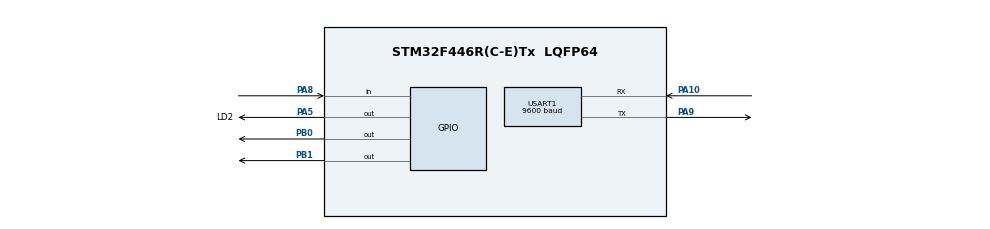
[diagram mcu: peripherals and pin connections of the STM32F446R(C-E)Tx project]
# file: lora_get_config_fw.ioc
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Mcu.Family=STM32F4
Mcu.Name=STM32F446R(C-E)Tx
Mcu.Package=LQFP64
NVIC.PriorityGroup=NVIC_PRIORITYGROUP_4
PA10.Mode=Asynchronous
PA10.Signal=USART1_RX
PA5.GPIO_Label=LD2
PA5.Signal=GPIO_Output
PA8.Signal=GPIO_Input
PA9.Mode=Asynchronous
PA9.Signal=USART1_TX
PB0.Signal=GPIO_Output
PB1.Signal=GPIO_Output
ProjectManager.HeapSize=0x200
ProjectManager.StackSize=0x400
ProjectManager.TargetToolchain=STM32CubeIDE
RCC.CortexFreq_Value=16000000
RCC.USBFreq_Value=96000000
RCC.VCOOutputFreq_Value=192000000
USART1.BaudRate=9600
USART1.VirtualMode=VM_ASYNC
board=custom

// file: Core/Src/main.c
/* USER CODE BEGIN Header */
/**
  ******************************************************************************
  * @file           : main.c
  * @brief          : Main program body
  ******************************************************************************
  * @attention
  *
  * Copyright (c) 2026 STMicroelectronics.
  * All rights reserved.
  *
  * This software is licensed under terms that can be found in the LICENSE file
  * in the root directory of this software component.
  * If no LICENSE file comes with this software, it is provided AS-IS.
  *
  ******************************************************************************
  */
/* USER CODE END Header */
#include "main.h"

/* USER CODE BEGIN Includes */
#include "e220.h"
#include <stdio.h>
#include <string.h>
/* USER CODE END Includes */

/* USER CODE BEGIN PD */
/* ----------------------------------------------------------------------------
 *  E220 pin haritasi (NUCLEO-F446RE)
 *    M0  = PB0   (GPIO cikis)
 *    M1  = PB1   (GPIO cikis)
 *    AUX = PA8   (GPIO giris)
 *    LD2 = PA5   (durum LED'i - her gonderimde toggle)
 * -------------------------------------------------------------------------- */
#define E220_M0_PORT    GPIOB
#define E220_M0_PIN     GPIO_PIN_0
#define E220_M1_PORT    GPIOB
#define E220_M1_PIN     GPIO_PIN_1
#define E220_AUX_PORT   GPIOA
#define E220_AUX_PIN    GPIO_PIN_8

#define LD2_PORT        GPIOA
#define LD2_PIN         GPIO_PIN_5

/* ----------------------------------------------------------------------------
 *  Uygulama modu secimi (E220_APP_MODE):
 *    E220_APP_READ  = STM32 acilista modulu SADECE OKUR (g_e220_cfg'ye) ve
 *                     mevcut ayari korur. Hicbir sey yazmaz.
 *    E220_APP_WRITE = Asagida "WRITE modu" blogunda VERDIGIN degerleri mod_le
 *                     YAZAR. Geri okuma / dogrulama YAPMAZ.
 *
 *  Kullanim: modu degistirmek icin sadece E220_APP_MODE satirini duzenle.
 * -------------------------------------------------------------------------- */
#define E220_APP_READ    0
#define E220_APP_WRITE   1

#define E220_APP_MODE    E220_APP_READ
/* USER CODE END PD */

/* USER CODE BEGIN PM */
/* ============================================================================
 *  CubeMX (.ioc) AYAR OZETI  -  NUCLEO-F446RE / STM32F446RET6
 * ----------------------------------------------------------------------------
 *  RCC   : HSI (16 MHz), PLL yok. SYSCLK = HCLK = APB1 = APB2 = 16 MHz.
 *          (9600 ve 115200 baud icin yeterli hassasiyet saglar.)
 *
 *  SYS   : Debug -> Serial Wire (SWD), Timebase -> SysTick.
 *
 *  USART1 (Connectivity):
 *      Mode = Asynchronous, Baud = 9600, 8 bit, Parity None, 1 stop.
 *      Pinler: PA9 = USART1_TX, PA10 = USART1_RX (AF7).
 *      -> E220 modulu ile haberlesme (config + veri).
 *      NOT: Config modu daima 9600'dur. Veri modu baud'u konfigurasyona bagli
 *           degisir; surucu (e220.c) mod degisiminde huart1 baud'unu otomatik
 *           ayarlar.
 *
 *  (USART2/printf debug ciktisi kaldirildi - izleme Live Expressions ile.)
 *
 *  GPIO (System Core -> GPIO):
 *      PB0 = GPIO_Output (E220 M0)   -> Push-Pull, No pull, Low speed
 *      PB1 = GPIO_Output (E220 M1)   -> Push-Pull, No pull, Low speed
 *      PA8 = GPIO_Input  (E220 AUX)  -> No pull
 *      PA5 = GPIO_Output (LD2 LED)   -> Push-Pull, No pull, Low speed
 *
 *  Not: USART clock'lari ve GPIO clock'lari HAL MSP (stm32f4xx_hal_msp.c) ve
 *       MX_GPIO_Init() icinde otomatik etkinlestirilir.
 * ==========================================================================*/
/* USER CODE END PM */

UART_HandleTypeDef huart1;

/* USER CODE BEGIN PV */
/* E220 surucu tutamaci */
static E220_Handle e220;

/* Live Expressions'ta izlenebilmesi icin config yapisini dosya-seviyesi
   static yaptik. Boylece her zaman kapsam icindedir ve pencerede alanlari
   (channel, tx_power, air_rate ...) surekli gorunur.
     - READ  modunda : moduldan OKUNAN aktif konfigurasyon
     - WRITE modunda : mod_le YAZILAN konfigurasyon                        */
static E220_Config g_e220_cfg;

/* --- Live Expressions izleme degiskenleri (printf yerine) ---------------- *
 *  g_read_status / g_write_status : ilgili islemin dönüş kodu (0 = E220_OK)
 *  g_tx_count         : gönderilen paket sayacı (2 sn'de bir artar - heartbeat)
 *  g_last_send_status : son E220_SendData dönüş kodu
 *  g_last_rx_len      : son alınan paketin bayt sayısı
 *  g_rx_buf           : son alınan paketin içeriği (metin) */
#if (E220_APP_MODE == E220_APP_READ)
static volatile E220_Status g_read_status        = E220_ERR_TIMEOUT;
#else
static volatile E220_Status g_write_status        = E220_ERR_TIMEOUT;
#endif
static volatile uint32_t    g_tx_count           = 0;
static volatile E220_Status g_last_send_status    = E220_OK;
static volatile uint16_t    g_last_rx_len         = 0;
static uint8_t              g_rx_buf[64];
/* USER CODE END PV */

void SystemClock_Config(void);
static void MX_GPIO_Init(void);
static void MX_USART1_UART_Init(void);

/* USER CODE BEGIN 0 */

/* USART2/printf debug ciktisi kaldirildi; izleme yalnizca Live Expressions
   uzerinden yapiliyor (asagidaki g_* global degiskenleri). */

/* USER CODE END 0 */

int main(void)
{

  /* MCU Configuration--------------------------------------------------------*/

  /* Reset of all peripherals, Initializes the Flash interface and the Systick. */
  HAL_Init();

  /* Configure the system clock */
  SystemClock_Config();

  /* Initialize all configured peripherals */
  MX_GPIO_Init();
  MX_USART1_UART_Init();
  /* USER CODE BEGIN 2 */

  /* --- E220 surucusunu baslat (UART + M0/M1/AUX pinleri) --------------- */
  E220_Init(&e220, &huart1,
            E220_M0_PORT, E220_M0_PIN,
            E220_M1_PORT, E220_M1_PIN,
            E220_AUX_PORT, E220_AUX_PIN);

#if (E220_APP_MODE == E220_APP_READ)
  /* ====================== READ MODU ==================================== *
   *  Modulde HALIHAZIRDA ne varsa oku ve koru. Hicbir sey yazma.
   *  Live Expr: g_e220_cfg (okunan ayarlar), g_read_status (0 = OK).       */
  g_read_status = E220_ReadConfig(&e220, &g_e220_cfg);

#else /* E220_APP_MODE == E220_APP_WRITE */
  /* ====================== WRITE MODU =================================== *
   *  Asagidaki degerleri mod_le YAZAR. Geri okuma / dogrulama YOK.
   *  >>> KENDI DEGERLERINI BURADA DUZENLE <<<
   *  Not: WriteConfig 8 register'in tamamini yazar; bu yuzden tum alanlar
   *       set edilmelidir. permanent=true => kalici (flash), false => gecici.
   *  Not: uart_baud, modul<->STM32 VERI modu hizi; 9600 disi secersen surucu
   *       Normal moda gecerken huart1'i otomatik ayarlar (config yine 9600). */
  g_e220_cfg.addh              = 0x00;
  g_e220_cfg.addl              = 49;                 /* adres dusuk bayt     */
  g_e220_cfg.uart_baud         = E220_UART_115200;     /* veri modu UART hizi  */
  g_e220_cfg.parity            = E220_PARITY_8N1;
  g_e220_cfg.air_rate          = E220_AIR_2K4;      /* havadaki hiz         */
  g_e220_cfg.sub_packet        = E220_SUBPKT_200;
  g_e220_cfg.rssi_ambient      = false;
  g_e220_cfg.tx_power          = E220_TXP_13dBm;
  g_e220_cfg.channel           = 59;                 /* 410.125 + 55 = 465.125 MHz */
  g_e220_cfg.rssi_byte         = true;
  g_e220_cfg.fixed_transmission = true;             /* transparan           */
  g_e220_cfg.lbt               = true;
  g_e220_cfg.wor_cycle         = E220_WOR_500MS;

  g_write_status = E220_WriteConfig(&e220, &g_e220_cfg, true /* kalici */);
#endif

  /* Veri gonderimi icin Normal moda gec */
  E220_SetMode(&e220, E220_MODE_NORMAL);
  /* USER CODE END 2 */

  /* Infinite loop */
  /* USER CODE BEGIN WHILE */
  uint32_t last_tx = 0;
  while (1)
  {
    /* USER CODE END WHILE */

    /* USER CODE BEGIN 3 */
    /* --- Her 2 saniyede bir gonder (Live Expr: g_tx_count, g_last_send_status) */
    if ((HAL_GetTick() - last_tx) >= 2000U) {
      last_tx = HAL_GetTick();

      char msg[48];
      int  n = snprintf(msg, sizeof(msg), "Hello LoRa #%lu\r\n",
                        (unsigned long)g_tx_count);
      g_last_send_status = E220_SendData(&e220, (uint8_t *)msg, (uint16_t)n);
      if (g_last_send_status == E220_OK) {
        g_tx_count++;
        HAL_GPIO_TogglePin(LD2_PORT, LD2_PIN);  /* her gonderimde LED toggle */
      }
    }

    /* --- Gelen veriyi (varsa) dinle (Live Expr: g_last_rx_len, g_rx_buf) --- */
    uint16_t rxlen = 0;
    if (E220_ReceiveData(&e220, g_rx_buf, sizeof(g_rx_buf) - 1, &rxlen, 50U) == E220_OK
        && rxlen > 0) {
      g_rx_buf[rxlen] = '\0';   /* Live Expr'de metin olarak okunabilsin */
      g_last_rx_len = rxlen;
    }
  }
  /* USER CODE END 3 */
}

void SystemClock_Config(void)
{
  RCC_OscInitTypeDef RCC_OscInitStruct = {0};
  RCC_ClkInitTypeDef RCC_ClkInitStruct = {0};

  /** Configure the main internal regulator output voltage
  */
  __HAL_RCC_PWR_CLK_ENABLE();
  __HAL_PWR_VOLTAGESCALING_CONFIG(PWR_REGULATOR_VOLTAGE_SCALE3);

  /** Initializes the RCC Oscillators according to the specified parameters
  * in the RCC_OscInitTypeDef structure.
  */
  RCC_OscInitStruct.OscillatorType = RCC_OSCILLATORTYPE_HSI;
  RCC_OscInitStruct.HSIState = RCC_HSI_ON;
  RCC_OscInitStruct.HSICalibrationValue = RCC_HSICALIBRATION_DEFAULT;
  RCC_OscInitStruct.PLL.PLLState = RCC_PLL_NONE;
  if (HAL_RCC_OscConfig(&RCC_OscInitStruct) != HAL_OK)
  {
    Error_Handler();
  }

  /** Initializes the CPU, AHB and APB buses clocks
  */
  RCC_ClkInitStruct.ClockType = RCC_CLOCKTYPE_HCLK|RCC_CLOCKTYPE_SYSCLK
                              |RCC_CLOCKTYPE_PCLK1|RCC_CLOCKTYPE_PCLK2;
  RCC_ClkInitStruct.SYSCLKSource = RCC_SYSCLKSOURCE_HSI;
  RCC_ClkInitStruct.AHBCLKDivider = RCC_SYSCLK_DIV1;
  RCC_ClkInitStruct.APB1CLKDivider = RCC_HCLK_DIV1;
  RCC_ClkInitStruct.APB2CLKDivider = RCC_HCLK_DIV1;

  if (HAL_RCC_ClockConfig(&RCC_ClkInitStruct, FLASH_LATENCY_0) != HAL_OK)
  {
    Error_Handler();
  }
}

static void MX_USART1_UART_Init(void)
{

  huart1.Instance = USART1;
  huart1.Init.BaudRate = 9600;
  huart1.Init.WordLength = UART_WORDLENGTH_8B;
  huart1.Init.StopBits = UART_STOPBITS_1;
  huart1.Init.Parity = UART_PARITY_NONE;
  huart1.Init.Mode = UART_MODE_TX_RX;
  huart1.Init.HwFlowCtl = UART_HWCONTROL_NONE;
  huart1.Init.OverSampling = UART_OVERSAMPLING_16;
  if (HAL_UART_Init(&huart1) != HAL_OK)
  {
    Error_Handler();
  }

}

static void MX_GPIO_Init(void)
{
  GPIO_InitTypeDef GPIO_InitStruct = {0};

  /* GPIO Ports Clock Enable */
  __HAL_RCC_GPIOB_CLK_ENABLE();
  __HAL_RCC_GPIOA_CLK_ENABLE();

  /*Configure GPIO pin Output Level */
  HAL_GPIO_WritePin(GPIOB, GPIO_PIN_0|GPIO_PIN_1, GPIO_PIN_RESET);

  /*Configure GPIO pin Output Level : PA5 (LD2) */
  HAL_GPIO_WritePin(LD2_PORT, LD2_PIN, GPIO_PIN_RESET);

  /*Configure GPIO pins : PB0 PB1 (E220 M0 / M1 -> cikis) */
  GPIO_InitStruct.Pin = GPIO_PIN_0|GPIO_PIN_1;
  GPIO_InitStruct.Mode = GPIO_MODE_OUTPUT_PP;
  GPIO_InitStruct.Pull = GPIO_NOPULL;
  GPIO_InitStruct.Speed = GPIO_SPEED_FREQ_LOW;
  HAL_GPIO_Init(GPIOB, &GPIO_InitStruct);

  /*Configure GPIO pin : PA8 (E220 AUX -> giris) */
  GPIO_InitStruct.Pin = GPIO_PIN_8;
  GPIO_InitStruct.Mode = GPIO_MODE_INPUT;
  GPIO_InitStruct.Pull = GPIO_NOPULL;
  HAL_GPIO_Init(GPIOA, &GPIO_InitStruct);

  /*Configure GPIO pin : PA5 (LD2 durum LED'i -> cikis) */
  GPIO_InitStruct.Pin = LD2_PIN;
  GPIO_InitStruct.Mode = GPIO_MODE_OUTPUT_PP;
  GPIO_InitStruct.Pull = GPIO_NOPULL;
  GPIO_InitStruct.Speed = GPIO_SPEED_FREQ_LOW;
  HAL_GPIO_Init(LD2_PORT, &GPIO_InitStruct);

}

void Error_Handler(void)
{
  __disable_irq();
  while (1)
  {
  }
}
